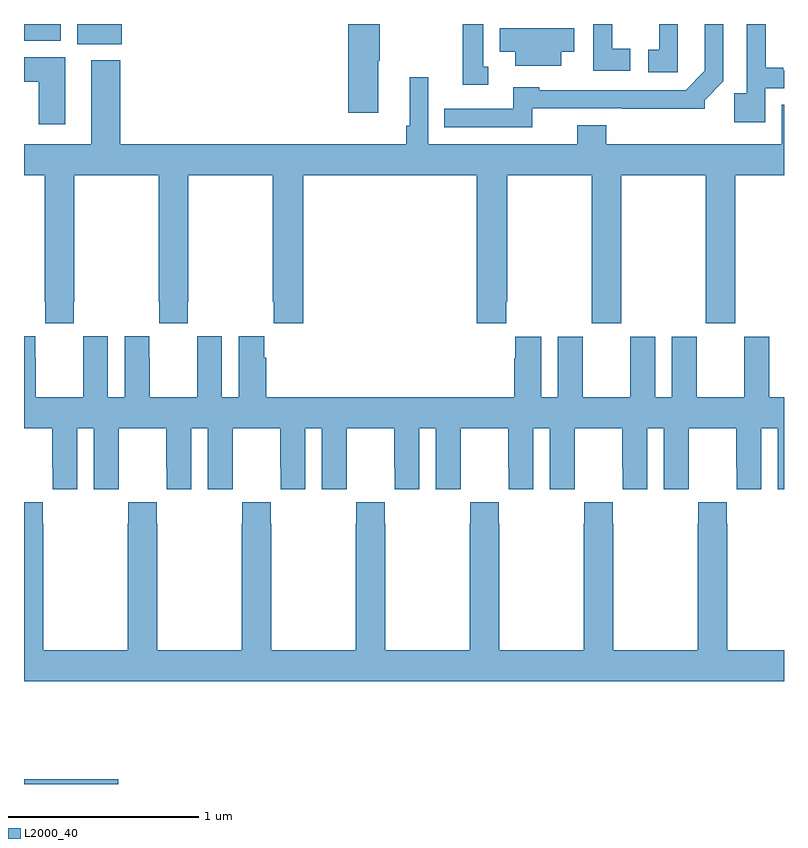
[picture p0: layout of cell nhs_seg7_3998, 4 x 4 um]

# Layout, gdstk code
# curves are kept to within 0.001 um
import gdstk
lib = gdstk.Library(unit=1e-6, precision=1e-09)
def R(c, l, rs):  # rectangles x0, y0, x1, y1
    for r in rs: c.add(gdstk.rectangle(r[:2], r[2:], *l))
def P(c, l, *ps):  # polygons
    for p in ps: c.add(gdstk.Polygon(p, *l))
L2000_40 = (2000, 40)

nhs_seg7_3998 = lib.new_cell('nhs_seg7_3998')
R(nhs_seg7_3998, L2000_40, [(363,1076,363.496,1076.024), (363.281,1079.894,363.514,1080), (363,1079.912,363.193,1080)])
P(nhs_seg7_3998, L2000_40, [(366.442,1080),(366.343,1080),(366.343,1079.865),(366.285,1079.865),(366.285,1079.745),(366.442,1079.745)],
  [(364.864,1079.806),(364.872,1079.806),(364.872,1080),(364.706,1080),(364.706,1079.532),(364.864,1079.532)],
  [(365.443,1079.775),(365.418,1079.775),(365.418,1080),(365.31,1080),(365.31,1079.681),(365.443,1079.681)],
  [(366.19,1079.87),(366.096,1079.87),(366.096,1080),(365.997,1080),(365.997,1079.754),(366.19,1079.754)],
  [(366.9,1079.661),(367,1079.661),(367,1079.757),(366.997,1079.757),(366.997,1079.77),(366.905,1079.77),(366.905,1080),(366.804,1080),(366.804,1079.635),(366.739,1079.635),(366.739,1079.484),(366.9,1079.484)],
  [(365.676,1079.556),(366.582,1079.555),(366.582,1079.599),(366.681,1079.698),(366.681,1080),(366.584,1080),(366.584,1079.753),(366.483,1079.652),(365.712,1079.652),(365.712,1079.668),(365.576,1079.668),(365.576,1079.553),(365.212,1079.553),(365.212,1079.457),(365.676,1079.457)],
  [(365.827,1079.855),(365.896,1079.855),(365.896,1079.977),(365.503,1079.977),(365.503,1079.855),(365.585,1079.855),(365.585,1079.78),(365.827,1079.78)],
  [(363.217,1079.824),(363,1079.824),(363,1079.696),(363.077,1079.696),(363.077,1079.472),(363.217,1079.472)],
  [(363.261,1078.537),(363.264,1078.537),(363.264,1079.204),(363.709,1079.204),(363.709,1078.537),(363.711,1078.537),(363.711,1078.425),(363.861,1078.425),(363.861,1078.537),(363.864,1078.537),(363.864,1079.204),(364.309,1079.204),(364.309,1078.537),(364.315,1078.537),(364.315,1078.425),(364.469,1078.425),(364.469,1079.204),(365.384,1079.204),(365.384,1078.425),(365.539,1078.425),(365.539,1078.537),(365.544,1078.537),(365.544,1079.204),(365.989,1079.204),(365.989,1078.425),(366.144,1078.425),(366.144,1079.204),(366.589,1079.204),(366.589,1078.425),(366.744,1078.425),(366.744,1079.204),(367,1079.204),(367,1079.576),(366.989,1079.576),(366.989,1079.368),(366.065,1079.368),(366.065,1079.467),(365.912,1079.467),(365.912,1079.368),(365.127,1079.368),(365.127,1079.719),(365.03,1079.719),(365.03,1079.464),(365.011,1079.464),(365.011,1079.368),(363.506,1079.368),(363.506,1079.809),(363.353,1079.809),(363.353,1079.368),(363,1079.368),(363,1079.204),(363.109,1079.204),(363.109,1078.537),(363.111,1078.537),(363.111,1078.425),(363.261,1078.425)],
  [(366.28,1077.872),(366.368,1077.872),(366.368,1077.552),(366.498,1077.552),(366.498,1077.664),(366.499,1077.664),(366.499,1077.872),(366.749,1077.872),(366.749,1077.664),(366.75,1077.664),(366.75,1077.552),(366.88,1077.552),(366.88,1077.872),(366.968,1077.872),(366.968,1077.552),(367,1077.552),(367,1078.036),(366.922,1078.036),(366.922,1078.354),(366.791,1078.354),(366.791,1078.036),(366.541,1078.036),(366.541,1078.354),(366.41,1078.354),(366.41,1078.036),(366.322,1078.036),(366.322,1078.354),(366.191,1078.354),(366.191,1078.036),(365.941,1078.036),(365.941,1078.354),(365.81,1078.354),(365.81,1078.036),(365.722,1078.036),(365.722,1078.354),(365.585,1078.354),(365.585,1078.241),(365.579,1078.241),(365.579,1078.036),(364.274,1078.036),(364.274,1078.244),(364.264,1078.244),(364.264,1078.357),(364.13,1078.357),(364.13,1078.036),(364.042,1078.036),(364.042,1078.357),(363.912,1078.357),(363.912,1078.244),(363.911,1078.244),(363.911,1078.036),(363.661,1078.036),(363.661,1078.244),(363.66,1078.244),(363.66,1078.357),(363.53,1078.357),(363.53,1078.036),(363.442,1078.036),(363.442,1078.357),(363.312,1078.357),(363.312,1078.244),(363.311,1078.244),(363.311,1078.036),(363.061,1078.036),(363.061,1078.244),(363.06,1078.244),(363.06,1078.357),(363,1078.357),(363,1077.872),(363.149,1077.872),(363.149,1077.664),(363.15,1077.664),(363.15,1077.552),(363.28,1077.552),(363.28,1077.872),(363.368,1077.872),(363.368,1077.552),(363.498,1077.552),(363.498,1077.664),(363.499,1077.664),(363.499,1077.872),(363.749,1077.872),(363.749,1077.664),(363.75,1077.664),(363.75,1077.552),(363.88,1077.552),(363.88,1077.872),(363.968,1077.872),(363.968,1077.552),(364.098,1077.552),(364.098,1077.664),(364.099,1077.664),(364.099,1077.872),(364.349,1077.872),(364.349,1077.664),(364.35,1077.664),(364.35,1077.552),(364.48,1077.552),(364.48,1077.872),(364.568,1077.872),(364.568,1077.552),(364.698,1077.552),(364.698,1077.664),(364.699,1077.664),(364.699,1077.872),(364.949,1077.872),(364.949,1077.664),(364.95,1077.664),(364.95,1077.552),(365.08,1077.552),(365.08,1077.872),(365.168,1077.872),(365.168,1077.552),(365.298,1077.552),(365.298,1077.664),(365.299,1077.664),(365.299,1077.872),(365.549,1077.872),(365.549,1077.664),(365.55,1077.664),(365.55,1077.552),(365.68,1077.552),(365.68,1077.872),(365.768,1077.872),(365.768,1077.552),(365.898,1077.552),(365.898,1077.664),(365.899,1077.664),(365.899,1077.872),(366.149,1077.872),(366.149,1077.664),(366.15,1077.664),(366.15,1077.552),(366.28,1077.552)],
  [(367,1076.704),(366.702,1076.704),(366.702,1077.371),(366.699,1077.371),(366.699,1077.484),(366.549,1077.484),(366.549,1077.371),(366.547,1077.371),(366.547,1076.704),(366.102,1076.704),(366.102,1077.371),(366.099,1077.371),(366.099,1077.484),(365.949,1077.484),(365.949,1077.371),(365.947,1077.371),(365.947,1076.704),(365.502,1076.704),(365.502,1077.371),(365.499,1077.371),(365.499,1077.484),(365.349,1077.484),(365.349,1077.371),(365.347,1077.371),(365.347,1076.704),(364.902,1076.704),(364.902,1077.371),(364.899,1077.371),(364.899,1077.484),(364.749,1077.484),(364.749,1077.371),(364.747,1077.371),(364.747,1076.704),(364.302,1076.704),(364.302,1077.371),(364.299,1077.371),(364.299,1077.484),(364.149,1077.484),(364.149,1077.371),(364.147,1077.371),(364.147,1076.704),(363.702,1076.704),(363.702,1077.371),(363.699,1077.371),(363.699,1077.484),(363.549,1077.484),(363.549,1077.371),(363.547,1077.371),(363.547,1076.704),(363.102,1076.704),(363.102,1077.371),(363.099,1077.371),(363.099,1077.484),(363,1077.484),(363,1076.54),(367,1076.54)])

lib.write_gds('nhs_seg7_3998.gds')
